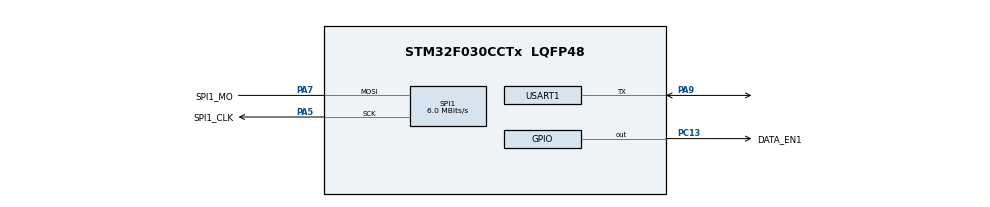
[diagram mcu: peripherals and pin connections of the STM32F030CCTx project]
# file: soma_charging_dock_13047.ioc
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Mcu.Family=STM32F0
Mcu.Name=STM32F030CCTx
Mcu.Package=LQFP48
PA13.Mode=Serial_Wire
PA13.Signal=SYS_SWDIO
PA14.Mode=Serial_Wire
PA14.Signal=SYS_SWCLK
PA5.GPIO_Label=SPI1_CLK
PA5.GPIO_Speed=GPIO_SPEED_FREQ_LOW
PA5.Mode=Simplex_Bidirectional_Master
PA5.Signal=SPI1_SCK
PA7.GPIO_Label=SPI1_MO
PA7.GPIO_Speed=GPIO_SPEED_FREQ_LOW
PA7.Mode=Simplex_Bidirectional_Master
PA7.Signal=SPI1_MOSI
PA9.GPIO_FMA9=SYSCFG_CFGR1_I2C_FMP_PA9
PA9.GPIO_Speed=GPIO_SPEED_FREQ_HIGH
PA9.Mode=Half_duplex(single_wire_mode)
PA9.Signal=USART1_TX
PC13.GPIO_Label=DATA_EN1
PC13.Signal=GPIO_Output
ProjectManager.HeapSize=0x200
ProjectManager.StackSize=0x400
ProjectManager.TargetToolchain=MDK-ARM V5.32
RCC.AHBFreq_Value=48000000
RCC.APB1Freq_Value=48000000
RCC.APB1TimFreq_Value=48000000
RCC.HCLKFreq_Value=48000000
RCC.PLLMUL=RCC_PLL_MUL6
RCC.SYSCLKFreq_VALUE=48000000
RCC.SYSCLKSource=RCC_SYSCLKSOURCE_PLLCLK
SPI1.BaudRatePrescaler=SPI_BAUDRATEPRESCALER_8
SPI1.CLKPhase=SPI_PHASE_2EDGE
SPI1.CLKPolarity=SPI_POLARITY_LOW
SPI1.CalculateBaudRate=6.0 MBits/s
SPI1.DataSize=SPI_DATASIZE_8BIT
SPI1.Direction=SPI_DIRECTION_1LINE
SPI1.Mode=SPI_MODE_MASTER
SPI1.VirtualType=VM_MASTER
USART1.BaudRate=1000000
USART1.OverSampling=UART_OVERSAMPLING_8
USART1.VirtualMode-Half_duplex(single_wire_mode)=VM_ASYNC
board=custom

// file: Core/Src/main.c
/* USER CODE BEGIN Header */
/**
  ******************************************************************************
  * @file           : main.c
  * @brief          : Main program body
  ******************************************************************************
  * @attention
  *
  * Copyright (c) 2024 STMicroelectronics.
  * All rights reserved.
  *
  * This software is licensed under terms that can be found in the LICENSE file
  * in the root directory of this software component.
  * If no LICENSE file comes with this software, it is provided AS-IS.
  *
  ******************************************************************************
  */
/* USER CODE END Header */
#include "main.h"
#include "spi.h"
#include "usart.h"
#include "gpio.h"

/* USER CODE BEGIN Includes */
#include "app_rgbled.h"

/* USER CODE END Includes */

void SystemClock_Config(void);

/* USER CODE BEGIN 0 */

void delay_nop(uint32_t nCount)
{
   for(; nCount != 0; nCount--)
   {
      __NOP();
   }
}

void Send_Data_To_UART1 (uint8_t c)
{
   USART1->TDR = c;
   while( (USART1-> ISR & (1<<7) ) ==0 );  //USART_ISR_TC  //USART_ISR_TXE_TXFNF
}

void iputs1(char *msg)
{
   while(*msg)
   Send_Data_To_UART1(*msg++);
}

void iputbytes1(uint8_t *msg, uint32_t ilen)
{
   while(ilen--)
   Send_Data_To_UART1(*msg++);
}

void uartsendcmd(uint8_t *scmd, uint32_t ilen)
{
   //switch to tx
   delay_nop(WAIT2TE_SLAVE); //delay_nop(WAIT2TE_MASTER);
   switch2send(USART1);

   //iputbytes1((uint8_t *)scmd,ilen);
   iputbytes1(scmd,ilen);

   //switch to rx
   delay_nop(WAIT2RE_SLAVE);  //delay_nop(WAIT2RE0_MASTER);
   switch2read(USART1);
}

void uartsendstr(uint8_t *str1)
{
   //switch to tx
   delay_nop(WAIT2TE_SLAVE); //delay_nop(WAIT2TE_MASTER);
   switch2send(USART1);

   iputs1((char*)str1);

   //switch to rx
   delay_nop(WAIT2RE_SLAVE);  //delay_nop(WAIT2RE0_MASTER);
   switch2read(USART1);
}

void spi_transmitbytes(uint8_t *sdata, uint16_t inum)
{
   for(uint16_t i =0; i< inum; i++)
   {
      LL_SPI_TransmitData8(SPI1, sdata[i]);
      while(!LL_SPI_IsActiveFlag_TXE(SPI1));
   }
}

/* USER CODE END 0 */

int main(void)
{

  /* MCU Configuration--------------------------------------------------------*/

  /* Reset of all peripherals, Initializes the Flash interface and the Systick. */
  LL_APB1_GRP2_EnableClock(LL_APB1_GRP2_PERIPH_SYSCFG);
  LL_APB1_GRP1_EnableClock(LL_APB1_GRP1_PERIPH_PWR);

  /* SysTick_IRQn interrupt configuration */
  NVIC_SetPriority(SysTick_IRQn, 3);

  /* Configure the system clock */
  SystemClock_Config();

  /* Initialize all configured peripherals */
  MX_GPIO_Init();
  MX_USART1_UART_Init();
  MX_SPI1_Init();
  /* USER CODE BEGIN 2 */

   uartsendstr( (uint8_t*)"start...");

   LL_SPI_Enable(SPI1);

  /* USER CODE END 2 */

  /* Infinite loop */
  /* USER CODE BEGIN WHILE */
   while (1)
   {
      static uint32_t imaincount=0;
      static uint32_t printcount=0;
      imaincount++;

      if(imaincount>10000000)
      {
         imaincount=0;

         rgbled_task();

         if(printcount<8) printcount++;
         //if(printcount<8)
            move_color();

         LL_GPIO_TogglePin( DATA_EN1_GPIO_Port, DATA_EN1_Pin);
      }

      //LL_mDelay(1000);

    /* USER CODE END WHILE */

   }
}

void SystemClock_Config(void)
{
  LL_FLASH_SetLatency(LL_FLASH_LATENCY_1);
  while(LL_FLASH_GetLatency() != LL_FLASH_LATENCY_1)
  {
  }
  LL_RCC_HSI_Enable();

   /* Wait till HSI is ready */
  while(LL_RCC_HSI_IsReady() != 1)
  {

  }
  LL_RCC_HSI_SetCalibTrimming(16);
  LL_RCC_PLL_ConfigDomain_SYS(LL_RCC_PLLSOURCE_HSI, LL_RCC_PLL_MUL_6, LL_RCC_PREDIV_DIV_1);
  LL_RCC_PLL_Enable();

   /* Wait till PLL is ready */
  while(LL_RCC_PLL_IsReady() != 1)
  {

  }
  LL_RCC_SetAHBPrescaler(LL_RCC_SYSCLK_DIV_1);
  LL_RCC_SetAPB1Prescaler(LL_RCC_APB1_DIV_1);
  LL_RCC_SetSysClkSource(LL_RCC_SYS_CLKSOURCE_PLL);

   /* Wait till System clock is ready */
  while(LL_RCC_GetSysClkSource() != LL_RCC_SYS_CLKSOURCE_STATUS_PLL)
  {

  }
  LL_Init1msTick(48000000);
  LL_SetSystemCoreClock(48000000);
  LL_RCC_SetUSARTClockSource(LL_RCC_USART1_CLKSOURCE_PCLK1);
}

void Error_Handler(void)
{
  __disable_irq();
  while (1)
  {
  }
}
